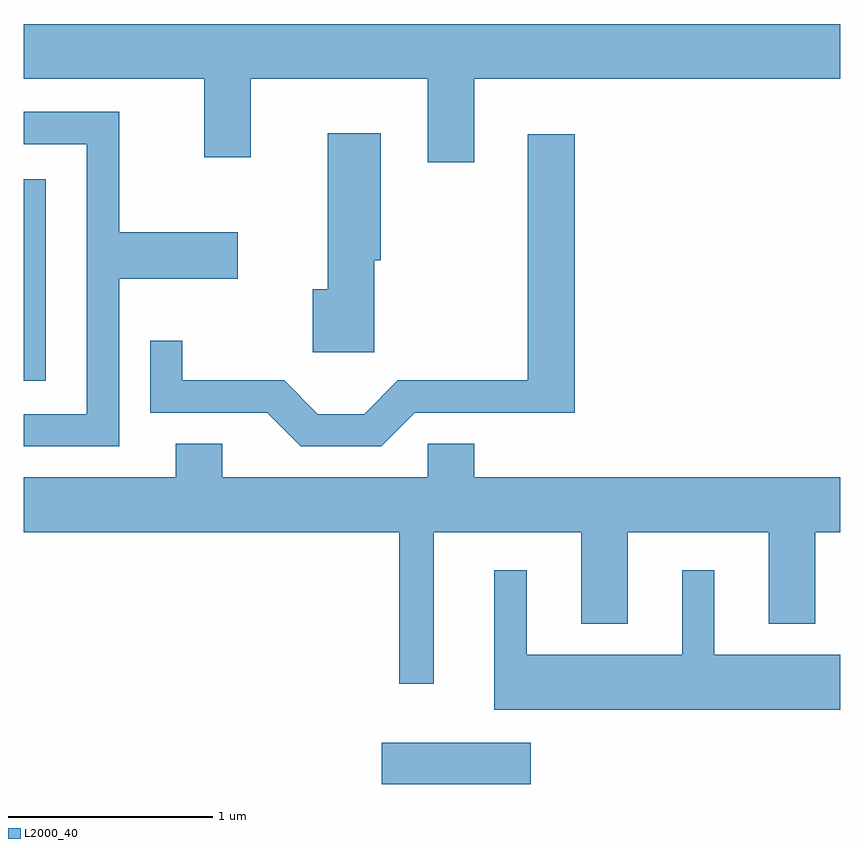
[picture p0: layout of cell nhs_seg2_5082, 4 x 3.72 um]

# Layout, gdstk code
import gdstk
lib = gdstk.Library(unit=1e-6, precision=1e-09)
def R(c, l, rs):  # rectangles x0, y0, x1, y1
    for r in rs: c.add(gdstk.rectangle(r[:2], r[2:], *l))
def P(c, l, *ps):  # polygons
    for p in ps: c.add(gdstk.Polygon(p, *l))
L2000_40 = (2000, 40)

nhs_seg2_5082 = lib.new_cell('nhs_seg2_5082')
R(nhs_seg2_5082, L2000_40, [(337.366,993.802,338.094,994.004), (335.611,995.776,335.719,996.764)])
P(nhs_seg2_5082, L2000_40, [(337.819,997.256),(339.611,997.256),(339.611,997.524),(335.611,997.524),(335.611,997.256),(336.496,997.256),(336.496,996.871),(336.724,996.871),(336.724,997.256),(337.591,997.256),(337.591,996.846),(337.819,996.846)],
  [(336.079,996.276),(336.659,996.276),(336.659,996.504),(336.079,996.504),(336.079,997.094),(335.611,997.094),(335.611,996.936),(335.921,996.936),(335.921,995.614),(335.611,995.614),(335.611,995.456),(336.079,995.456)],
  [(337.329,996.366),(337.359,996.366),(337.359,996.989),(337.101,996.989),(337.101,996.224),(337.026,996.224),(337.026,995.916),(337.329,995.916)],
  [(337.527,995.621),(338.309,995.621),(338.309,996.984),(338.081,996.984),(338.081,995.779),(337.444,995.779),(337.279,995.614),(337.052,995.614),(336.887,995.779),(336.389,995.779),(336.389,995.973),(336.231,995.973),(336.231,995.621),(336.804,995.621),(336.969,995.456),(337.362,995.456)],
  [(337.619,995.036),(338.341,995.036),(338.341,994.586),(338.569,994.586),(338.569,995.036),(339.261,995.036),(339.261,994.586),(339.489,994.586),(339.489,995.036),(339.611,995.036),(339.611,995.304),(337.819,995.304),(337.819,995.469),(337.591,995.469),(337.591,995.304),(336.584,995.304),(336.584,995.469),(336.356,995.469),(336.356,995.304),(335.611,995.304),(335.611,995.036),(337.451,995.036),(337.451,994.293),(337.619,994.293)],
  [(339.611,994.434),(338.994,994.434),(338.994,994.848),(338.836,994.848),(338.836,994.434),(338.074,994.434),(338.074,994.848),(337.916,994.848),(337.916,994.166),(339.611,994.166)])

lib.write_gds('nhs_seg2_5082.gds')
